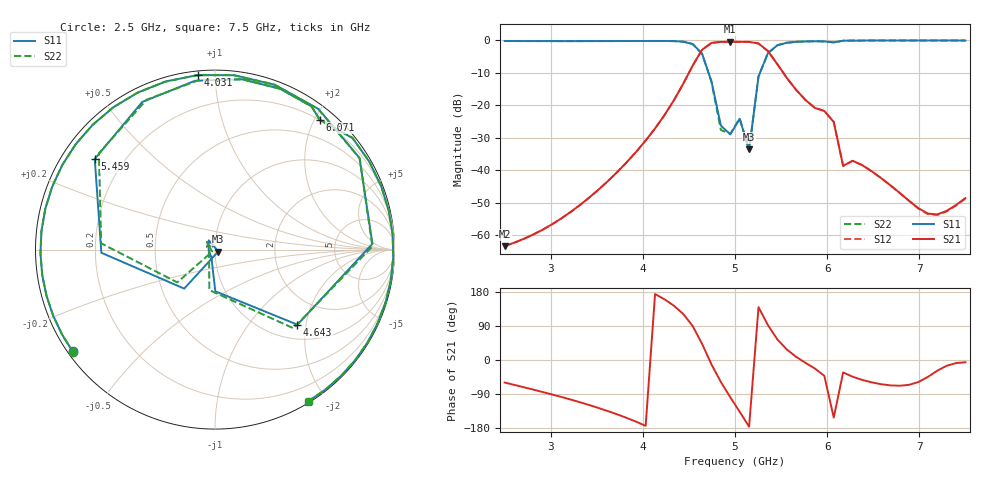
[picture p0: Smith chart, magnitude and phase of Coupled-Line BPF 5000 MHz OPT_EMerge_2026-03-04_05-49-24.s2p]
! Generated by EMerge - 2-port S-parameters
! File generated: 2026-03-04 05:49
! --- Coupled-Line BPF 5000 MHz OPT ---
! Substrate: RO4003C
! h = 0.508 mm
! W50 = 1.1 mm, Lfeed = 5 mm
! L1 = 8.93 mm, S1 = 0.09900000000000002 mm, W1 = 0.76 mm
! L2 = 8.93 mm, S2 = 0.09900000000000002 mm, W2 = 1.08 mm
! Run time = 0.98 min
# GHZ S RI R 50
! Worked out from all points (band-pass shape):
!   50 points, 2.5 GHz to 7.5 GHz, reference 50 ohm
!   highest |S21| = -0.46 dB at 4.949 GHz (marker M1); lowest = -63.4 dB at 2.5 GHz (marker M2)
!   |S21| within 3 dB of the highest: 4.631 GHz to 5.361 GHz (730 MHz wide, 14.6 % of centre)
!   lowest |S11| = -33.7 dB at 5.153 GHz (marker M3), VSWR 1.04, Z = 51.8 - j1.1 ohm
!   |S11| at or under -10 dB: 4.713 GHz to 5.272 GHz (558.6 MHz wide, 11.2 % of centre)
!   |S22| runs from -34.1 to 0.0 dB; largest |S21 - S12| = 0.00097
!   S11 on the Smith chart (normalised r, x): 2.5 GHz: 0.01, -0.32; 4.031 GHz: 0.02, +0.91; 4.643 GHz: 1.31, -1.79; 5.459 GHz: 0.10, +0.33; 6.071 GHz: 0.19, +2.09; 7.5 GHz: 0.02, -1.78
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2.5  -0.7929 -0.5676  0.000343 -0.000579  0.000342 -0.000578  -0.7893 -0.5728
3.418367  -0.8491 0.4747  -0.00182 -0.0033  -0.00182 -0.00329  -0.8531 0.4672
4.030612  -0.0943 0.9725  -0.0284 -0.00309  -0.0283 -0.00308  -0.1027 0.9715
4.234694  0.3339 0.9181  -0.0662 0.0239  -0.0661 0.0239  0.3282 0.92
4.438776  0.8051 0.5109  -0.1114 0.1833  -0.1113 0.1831  0.8063 0.5081
4.540816  0.8773 0.0323  0.00229 0.408  0.00231 0.4075  0.8768 0.0181
4.642857  0.4591 -0.4182  0.5278 0.4844  0.5273 0.4838  0.4372 -0.4382
4.744898  0.0019 -0.2323  0.8929 -0.1866  0.8919 -0.1864  -0.0314 -0.2257
4.846939  -0.0201 -0.0441  0.5005 -0.8022  0.4999 -0.8014  -0.0334 -0.0245
4.94898  -0.0354 0.000169  -0.1375 -0.9382  -0.1374 -0.9373  -0.0356 0.0073
5.05102  -0.034 0.0516  -0.6885 -0.6497  -0.6879 -0.6491  -0.0443 0.0438
5.153061  0.0179 -0.0106  -0.9431 -0.0662  -0.9422 -0.0661  -0.0161 -0.0116
5.255102  -0.1716 -0.2172  -0.6794 0.5814  -0.6788 0.5809  -0.2099 -0.1828
5.357143  -0.6332 -0.0177  -0.0258 0.6831  -0.0258 0.6825  -0.6343 0.0349
5.459184  -0.6699 0.5051  0.2502 0.3492  0.25 0.3489  -0.6466 0.537
5.663265  -0.1115 0.9406  0.1706 0.0251  0.1705 0.0251  -0.0942 0.9432
5.867347  0.3601 0.8972  0.0838 -0.0348  0.0839 -0.0347  0.3661 0.895
6.071429  0.5864 0.7222  -0.0486 -0.0258  -0.0488 -0.0263  0.5832 0.722
6.173469  0.767 0.6208  0.00977 -0.00629  0.00963 -0.00633  0.7649 0.6235
6.683673  0.9929 -0.049  0.0023 -0.0054  0.00225 -0.0054  0.9934 -0.04
7.091837  0.8478 -0.5207  0.00152 -0.00151  0.00147 -0.0015  0.8533 -0.5118
7.5  0.5174 -0.8466  0.00368 -0.00038  0.00361 -0.000343  0.526 -0.8413
